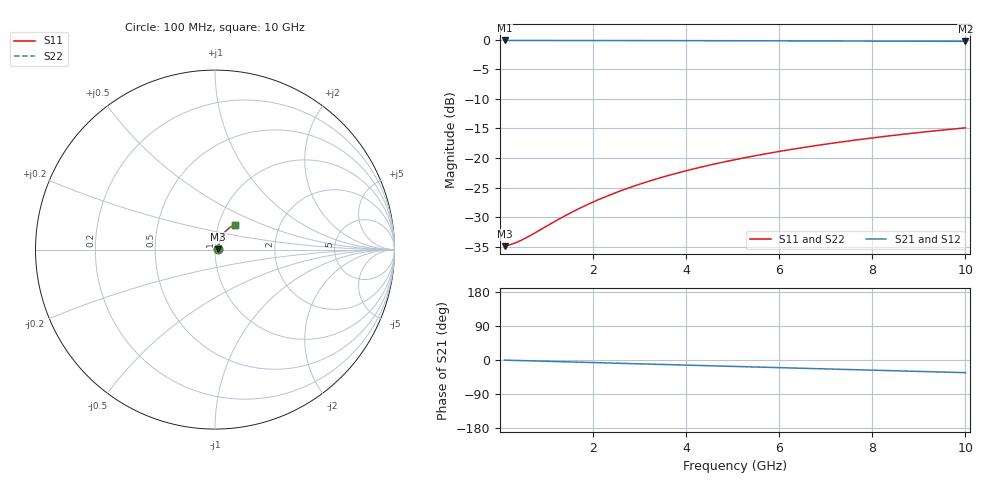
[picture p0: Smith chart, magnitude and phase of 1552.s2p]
# Hz S RI R 50.00
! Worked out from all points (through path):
!   100 points, 100 MHz to 10 GHz, reference 50 ohm
!   highest |S21| = -0.16 dB at 100 MHz (marker M1); lowest = -0.3 dB at 10 GHz (marker M2)
!   group delay of S21, straight-line fit = 9.29 ps
!   lowest |S11| = -34.9 dB at 100 MHz (marker M3), VSWR 1.04, Z = 51.8 + j0.188 ohm
!   |S11| at or under -10 dB: start of sweep to end of sweep
!   |S22| runs from -34.9 to -14.9 dB; largest |S21 - S12| = 0
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1e8  0.018 0.00181  0.982 -0.00579  0.982 -0.00579  0.018 0.00181
2e8  0.0181 0.00363  0.9818 -0.0116  0.9818 -0.0116  0.0181 0.00363
3e8  0.0183 0.00544  0.9816 -0.0174  0.9816 -0.0174  0.0183 0.00544
5e8  0.0186 0.00906  0.9812 -0.0289  0.9812 -0.0289  0.0186 0.00906
7e8  0.0189 0.0127  0.9806 -0.0405  0.9806 -0.0405  0.0189 0.0127
1.3e9  0.0204 0.0234  0.9782 -0.0751  0.9782 -0.0751  0.0204 0.0234
1.6e9  0.0215 0.0288  0.9765 -0.0923  0.9765 -0.0923  0.0215 0.0288
1.8e9  0.0222 0.0323  0.9751 -0.1038  0.9751 -0.1038  0.0222 0.0323
2.2e9  0.024 0.0393  0.972 -0.1267  0.972 -0.1267  0.024 0.0393
2.6e9  0.0261 0.0462  0.9684 -0.1494  0.9684 -0.1494  0.0261 0.0462
3e9  0.0286 0.053  0.9641 -0.1721  0.9641 -0.1721  0.0286 0.053
3.4e9  0.0313 0.0597  0.9593 -0.1946  0.9593 -0.1946  0.0313 0.0597
3.8e9  0.0344 0.0662  0.954 -0.2169  0.954 -0.2169  0.0344 0.0662
4.2e9  0.0377 0.0726  0.948 -0.2391  0.948 -0.2391  0.0377 0.0726
4.6e9  0.0414 0.0788  0.9416 -0.261  0.9416 -0.261  0.0414 0.0788
5.1e9  0.0464 0.0862  0.9327 -0.2882  0.9327 -0.2882  0.0464 0.0862
5.9e9  0.0552 0.0975  0.9168 -0.3309  0.9168 -0.3309  0.0552 0.0975
6.7e9  0.065 0.1079  0.8989 -0.3725  0.8989 -0.3725  0.065 0.1079
7.5e9  0.0757 0.1173  0.879 -0.4131  0.879 -0.4131  0.0757 0.1173
8.4e9  0.0887 0.1266  0.8544 -0.4571  0.8544 -0.4571  0.0887 0.1266
9.2e9  0.1009 0.1336  0.8307 -0.4949  0.8307 -0.4949  0.1009 0.1336
1e10  0.1137 0.1394  0.8053 -0.5313  0.8053 -0.5313  0.1137 0.1394
